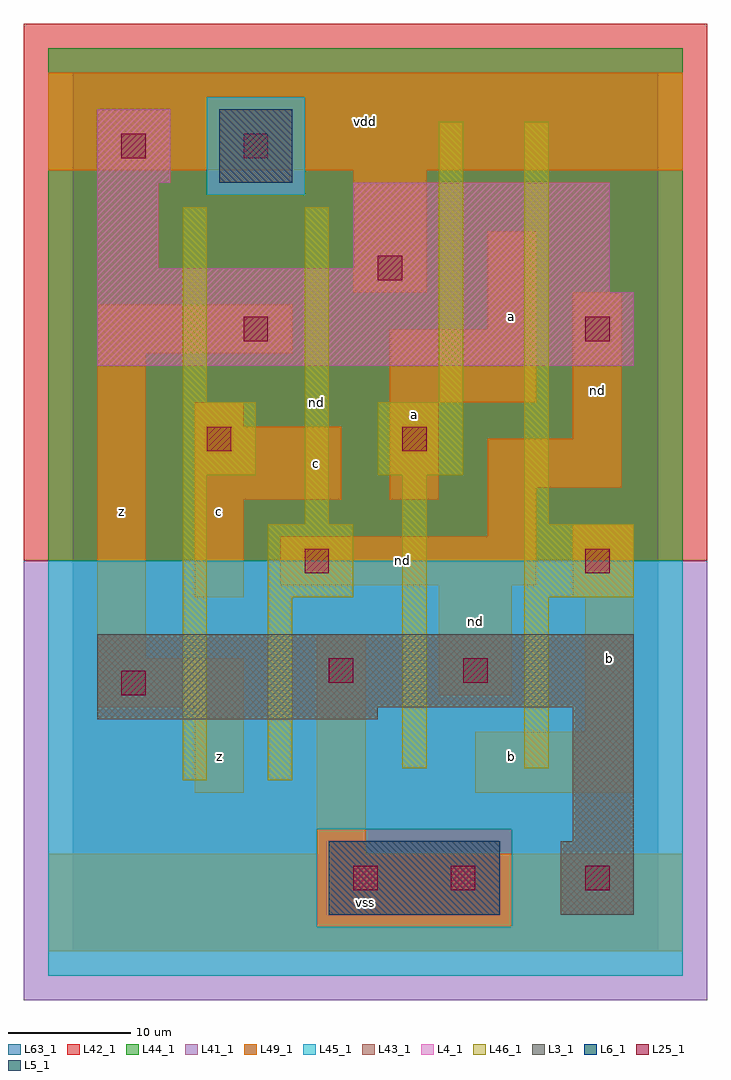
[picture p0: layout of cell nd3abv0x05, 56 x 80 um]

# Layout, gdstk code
import gdstk
lib = gdstk.Library(unit=1e-6, precision=1e-09)
def R(c, l, rs):  # rectangles x0, y0, x1, y1
    for r in rs: c.add(gdstk.rectangle(r[:2], r[2:], *l))
L3_1 = (3, 1)
L4_1 = (4, 1)
L5_1 = (5, 1)
L6_1 = (6, 1)
L25_1 = (25, 1)
L41_1 = (41, 1)
L42_1 = (42, 1)
L43_1 = (43, 1)
L44_1 = (44, 1)
L45_1 = (45, 1)
L46_1 = (46, 1)
L49_1 = (49, 1)
L63_1 = (63, 1)

nd3abv0x05 = lib.new_cell('nd3abv0x05')
R(nd3abv0x05, L3_1, [(40,3,46,9), (41,9,46,20), (2,19,25,20), (2,20,46,26)])
R(nd3abv0x05, L4_1, [(2,48,46,54), (2,54,44,56), (2,56,7,63), (23,56,44,63), (2,63,8,69)])
R(nd3abv0x05, L5_1, [(12,63,18,69)])
R(nd3abv0x05, L6_1, [(21,3,35,9), (21,3,35,9)])
R(nd3abv0x05, L25_1, [(23,5,25,7), (31,5,33,7), (42,5,44,7), (4,21,6,23), (21,22,23,24), (32,22,34,24), (19,31,21,33), (42,31,44,33), (11,41,13,43), (27,41,29,43), (14,50,16,52), (42,50,44,52), (25,55,27,57), (4,65,6,67), (14,65,16,67)])
R(nd3abv0x05, L41_1, [(-4,-4,52,32)])
R(nd3abv0x05, L42_1, [(-4,32,52,76)])
R(nd3abv0x05, L43_1, [(21,3,35,9), (40,3,46,9), (41,9,46,20), (2,19,25,20), (2,20,46,26), (2,48,46,54), (2,54,44,56), (2,56,7,63), (23,56,44,63), (2,63,8,69), (12,63,18,69)])
R(nd3abv0x05, L44_1, [(20,2,36,10), (-2,32,50,62), (-2,62,11,70), (19,62,50,70), (-2,70,50,74)])
R(nd3abv0x05, L45_1, [(-2,-2,50,2), (-2,2,20,10), (36,2,50,10), (-2,10,50,32), (11,62,19,70)])
R(nd3abv0x05, L46_1, [(9,14,11,39), (16,14,18,29), (27,15,29,39), (37,15,39,29), (16,29,23,35), (37,29,46,35), (19,35,21,61), (37,35,39,68), (9,39,15,45), (25,39,32,45), (9,45,11,61), (30,45,32,68)])
R(nd3abv0x05, L49_1, [(-2,0,50,8), (20,8,24,26), (10,13,14,20), (33,13,46,18), (42,18,46,29), (2,20,14,24), (30,21,36,30), (2,24,6,49), (10,29,14,37), (41,29,46,35), (17,30,38,34), (34,34,38,38), (10,37,22,43), (26,37,30,45), (34,38,45,42), (41,42,45,54), (10,43,14,45), (26,45,38,51), (2,49,18,53), (34,51,38,59), (23,54,29,64), (-2,64,50,72)])
R(nd3abv0x05, L63_1, [(0,0,48,72)])
nd3abv0x05.add(gdstk.Label('nd', (20,45), layer=46, texttype=1))
nd3abv0x05.add(gdstk.Label('z', (4,36), layer=49, texttype=1))
nd3abv0x05.add(gdstk.Label('z', (12,16), layer=49, texttype=1))
nd3abv0x05.add(gdstk.Label('c', (20,40), layer=49, texttype=1))
nd3abv0x05.add(gdstk.Label('c', (12,36), layer=49, texttype=1))
nd3abv0x05.add(gdstk.Label('vss', (24,4), layer=49, texttype=1))
nd3abv0x05.add(gdstk.Label('nd', (33,27), layer=49, texttype=1))
nd3abv0x05.add(gdstk.Label('a', (28,44), layer=49, texttype=1))
nd3abv0x05.add(gdstk.Label('vdd', (24,68), layer=49, texttype=1))
nd3abv0x05.add(gdstk.Label('b', (36,16), layer=49, texttype=1))
nd3abv0x05.add(gdstk.Label('nd', (27,32), layer=49, texttype=1))
nd3abv0x05.add(gdstk.Label('b', (44,24), layer=49, texttype=1))
nd3abv0x05.add(gdstk.Label('nd', (43,46), layer=49, texttype=1))
nd3abv0x05.add(gdstk.Label('a', (36,52), layer=49, texttype=1))

lib.write_gds('nd3abv0x05.gds')
